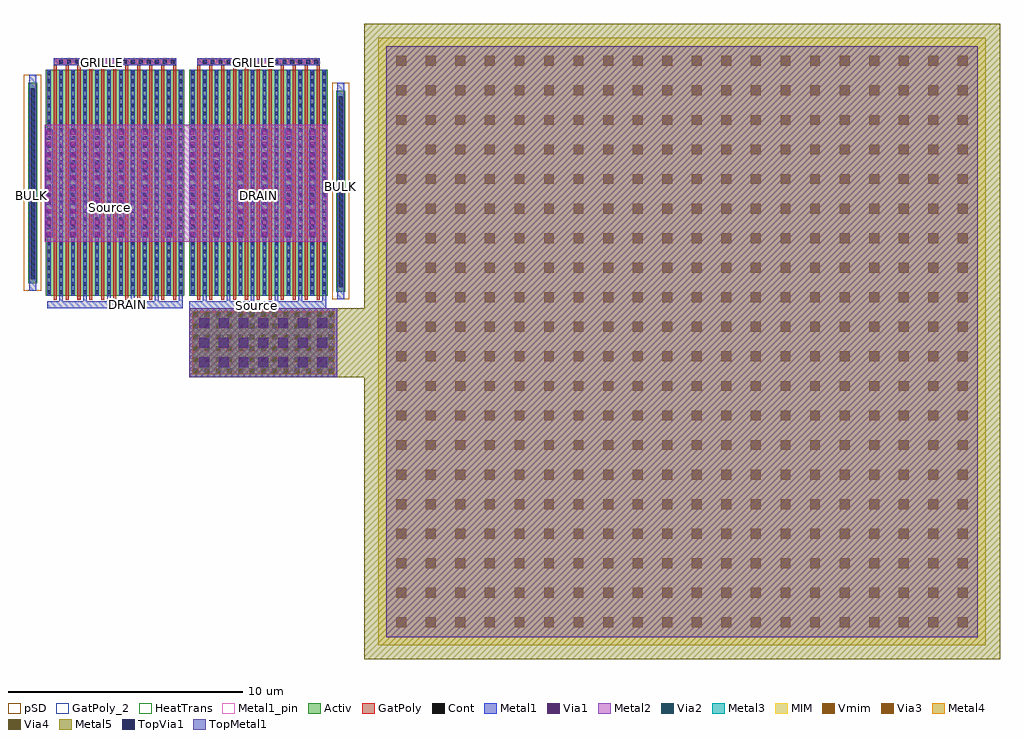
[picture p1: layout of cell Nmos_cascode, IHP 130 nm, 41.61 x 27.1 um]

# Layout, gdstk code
from math import pi, radians
import gdstk
lib = gdstk.Library(unit=1e-6, precision=1e-09)
def R(c, l, rs):  # rectangles x0, y0, x1, y1
    for r in rs: c.add(gdstk.rectangle(r[:2], r[2:], *l))
def A(c, l, x, y, w, h, nx, ny, dx, dy):  # array of equal rectangles
    R(c, l, [(x+i*dx, y+j*dy, x+i*dx+w, y+j*dy+h) for i in range(nx) for j in range(ny)])
Activ = (1, 0)
GatPoly = (5, 0)
GatPoly_2 = (5, 2)
Cont = (6, 0)
Metal1 = (8, 0)
Metal1_pin = (8, 2)
Metal2 = (10, 0)
pSD = (14, 0)
Via1 = (19, 0)
Via2 = (29, 0)
Metal3 = (30, 0)
MIM = (36, 0)
Via3 = (49, 0)
Metal4 = (50, 0)
HeatTrans = (51, 0)
Via4 = (66, 0)
Metal5 = (67, 0)
TopVia1 = (125, 0)
TopMetal1 = (126, 0)
Vmim = (129, 0)

via_stack_11 = lib.new_cell('via_stack$11')
R(via_stack_11, Metal1, [(-0.145,-2.305,0.145,2.305)])
R(via_stack_11, Metal2, [(-0.145,-2.305,0.145,2.305)])
A(via_stack_11, Via1, -0.095, -2.255, 0.19, 0.19, 1, 10, 0, 0.48)

nmos1 = lib.new_cell('nmos1')
A(nmos1, Activ, 0, 0, 0.3, 0.3, 12, 1, 0.51, 0)
R(nmos1, Activ, [(0,0,5.91,9.635)])
A(nmos1, GatPoly, 0.34, -0.18, 0.13, 9.995, 11, 1, 0.51, 0)
R(nmos1, GatPoly_2, [(0.34,-0.18,0.47,9.815)])
A(nmos1, Cont, 0.07, 0.07, 0.16, 0.16, 12, 7, 0.51, 0.345)
A(nmos1, Cont, 0.07, 2.49, 0.16, 0.16, 12, 7, 0.51, 0.345)
A(nmos1, Cont, 0.07, 4.91, 0.16, 0.16, 12, 7, 0.51, 0.345)
A(nmos1, Cont, 0.07, 7.33, 0.16, 0.16, 12, 6, 0.51, 0.345)
A(nmos1, Cont, 0.07, 9.405, 0.16, 0.16, 12, 1, 0.51, 0)
A(nmos1, Metal1, 0.07, 0, 0.16, 9.635, 12, 1, 0.51, 0)
R(nmos1, Metal1_pin, [(0.07,0,0.23,9.635), (0.58,0,0.74,9.635)])
A(nmos1, HeatTrans, 0.34, -0.18, 0.13, 9.995, 11, 1, 0.51, 0)
nmos1.add(gdstk.Label('nmos', (0.405,4.818), layer=63, texttype=0))
nmos1.add(gdstk.Label('nmos', (0.405,4.818), layer=51, texttype=0))
nmos1.add(gdstk.Label('nmos', (0.915,4.818), layer=51, texttype=0))
nmos1.add(gdstk.Label('nmos', (1.425,4.818), layer=51, texttype=0))
nmos1.add(gdstk.Label('nmos', (1.935,4.818), layer=51, texttype=0))
nmos1.add(gdstk.Label('nmos', (2.445,4.818), layer=51, texttype=0))
nmos1.add(gdstk.Label('nmos', (2.955,4.818), layer=51, texttype=0))
nmos1.add(gdstk.Label('nmos', (3.465,4.818), layer=51, texttype=0))
nmos1.add(gdstk.Label('nmos', (3.975,4.818), layer=51, texttype=0))
nmos1.add(gdstk.Label('nmos', (4.485,4.818), layer=51, texttype=0))
nmos1.add(gdstk.Label('nmos', (4.995,4.818), layer=51, texttype=0))
nmos1.add(gdstk.Label('nmos', (5.505,4.818), layer=51, texttype=0))

cmim_9 = lib.new_cell('cmim$9')
R(cmim_9, MIM, [(0,0,25.9,25.9)])
R(cmim_9, Metal5, [(-0.6,-0.6,26.5,26.5)])
R(cmim_9, TopMetal1, [(0.345,0.345,25.545,25.545)])
A(cmim_9, Vmim, 0.765, 0.765, 0.42, 0.42, 20, 20, 1.26, 1.26)

c_c0 = lib.new_cell('C0')
c_c0.add(gdstk.Reference(cmim_9, (-3.415,-10.455)))

via_stack_20 = lib.new_cell('via_stack$20')
R(via_stack_20, Metal1, [(-3.025,-1.345,3.025,1.345)])
R(via_stack_20, Metal2, [(-3.025,-1.345,3.025,1.345)])
A(via_stack_20, Via1, -2.975, -1.295, 0.19, 0.19, 13, 6, 0.48, 0.48)
A(via_stack_20, Via2, -2.975, -1.295, 0.19, 0.19, 13, 6, 0.48, 0.48)
R(via_stack_20, Metal3, [(-3.025,-1.345,3.025,1.345)])
A(via_stack_20, Via3, -2.975, -1.295, 0.19, 0.19, 13, 6, 0.48, 0.48)
R(via_stack_20, Metal4, [(-3.025,-1.345,3.025,1.345)])
A(via_stack_20, Via4, -2.975, -1.295, 0.19, 0.19, 13, 6, 0.48, 0.48)
R(via_stack_20, Metal5, [(-3.025,-1.345,3.025,1.345), (-2.83,-1.15,2.83,1.15)])
A(via_stack_20, TopVia1, -2.73, -1.05, 0.42, 0.42, 7, 3, 0.84, 0.84)
R(via_stack_20, TopMetal1, [(-3.15,-1.47,3.15,1.47)])

nmos_cascode = lib.new_cell('Nmos_cascode')
R(nmos_cascode, Activ, [(5.895,-14.95,6.27,-6.4), (-7.235,-14.605,-6.86,-6.055)])
R(nmos_cascode, GatPoly, [(-6.16,-5.31,-0.93,-5.01), (-0.04,-5.31,5.19,-5.01)])
A(nmos_cascode, Cont, -5.92, -5.24, 0.16, 0.16, 15, 1, 0.34, 0)
A(nmos_cascode, Cont, 0.2, -5.24, 0.16, 0.16, 15, 1, 0.34, 0)
R(nmos_cascode, Cont, [(6,-14.765,6.16,-6.62), (-7.13,-14.42,-6.97,-6.275)])
A(nmos_cascode, Metal1, -5.92, -15.36, 0.16, 0.235, 12, 1, 1.02, 0)
R(nmos_cascode, Metal1, [(-0.37,-18.6,5.93,-15.66), (-6.43,-15.66,-0.66,-15.36), (-0.37,-15.66,5.46,-15.36), (5.93,-15.27,6.23,-6.05), (-7.2,-14.925,-6.9,-5.705), (-6.16,-5.31,-0.93,-5.01), (-0.04,-5.31,5.19,-5.01)])
R(nmos_cascode, Metal2, [(-6.54,-12.83,5.53,-7.83)])
R(nmos_cascode, pSD, [(5.71,-15.27,6.45,-6.045), (-7.42,-14.925,-6.68,-5.7)])
R(nmos_cascode, Metal5, [(-0.37,-18.6,7.085,-15.66)])
r = gdstk.Reference(via_stack_11, (-5.335,-10.33), rotation=pi); r.repetition = gdstk.Repetition(1, 1, v1=(0,0), v2=(0,0)); nmos_cascode.add(r)
nmos_cascode.add(gdstk.Reference(nmos1, (5.53,-5.49), rotation=pi))
r = gdstk.Reference(via_stack_11, (-6.35,-10.33), rotation=pi); r.repetition = gdstk.Repetition(1, 1, v1=(0,0), v2=(0,0)); nmos_cascode.add(r)
r = gdstk.Reference(via_stack_11, (-3.29,-10.33), rotation=pi); r.repetition = gdstk.Repetition(1, 1, v1=(0,0), v2=(0,0)); nmos_cascode.add(r)
r = gdstk.Reference(via_stack_11, (-4.315,-10.33), rotation=pi); r.repetition = gdstk.Repetition(1, 1, v1=(0,0), v2=(0,0)); nmos_cascode.add(r)
r = gdstk.Reference(via_stack_11, (-1.245,-10.33), rotation=pi); r.repetition = gdstk.Repetition(1, 1, v1=(0,0), v2=(0,0)); nmos_cascode.add(r)
r = gdstk.Reference(via_stack_11, (-2.27,-10.33), rotation=pi); r.repetition = gdstk.Repetition(1, 1, v1=(0,0), v2=(0,0)); nmos_cascode.add(r)
r = gdstk.Reference(via_stack_11, (-0.23,-10.33), rotation=pi); r.repetition = gdstk.Repetition(1, 1, v1=(0,0), v2=(0,0)); nmos_cascode.add(r)
r = gdstk.Reference(via_stack_11, (0.785,-10.33), rotation=pi); r.repetition = gdstk.Repetition(1, 1, v1=(0,0), v2=(0,0)); nmos_cascode.add(r)
r = gdstk.Reference(via_stack_11, (2.83,-10.33), rotation=pi); r.repetition = gdstk.Repetition(1, 1, v1=(0,0), v2=(0,0)); nmos_cascode.add(r)
r = gdstk.Reference(via_stack_11, (1.805,-10.33), rotation=pi); r.repetition = gdstk.Repetition(1, 1, v1=(0,0), v2=(0,0)); nmos_cascode.add(r)
r = gdstk.Reference(via_stack_11, (4.875,-10.33), rotation=pi); r.repetition = gdstk.Repetition(1, 1, v1=(0,0), v2=(0,0)); nmos_cascode.add(r)
r = gdstk.Reference(via_stack_11, (3.85,-10.33), rotation=pi); r.repetition = gdstk.Repetition(1, 1, v1=(0,0), v2=(0,0)); nmos_cascode.add(r)
nmos_cascode.add(gdstk.Reference(nmos1, (-0.59,-5.49), rotation=pi))
nmos_cascode.add(gdstk.Reference(c_c0, (11.1,-19.575)))
nmos_cascode.add(gdstk.Reference(via_stack_20, (2.78,-17.13)))
nmos_cascode.add(gdstk.Label('BULK', (-7.085,-10.85), layer=63, texttype=0))
nmos_cascode.add(gdstk.Label('BULK', (6.055,-10.47), layer=63, texttype=0))
nmos_cascode.add(gdstk.Label('GRILLE', (2.4,-5.195), layer=63, texttype=0))
nmos_cascode.add(gdstk.Label('GRILLE', (-4.08,-5.205), layer=63, texttype=0))
nmos_cascode.add(gdstk.Label('Source', (2.47,-15.54), layer=63, texttype=0))
nmos_cascode.add(gdstk.Label('DRAIN', (-2.995,-15.495), layer=63, texttype=0))
nmos_cascode.add(gdstk.Label('Source', (-3.795,-11.36), layer=63, texttype=0))
nmos_cascode.add(gdstk.Label('DRAIN', (2.575,-10.845), layer=63, texttype=0))

lib.write_gds('Nmos_cascode.gds')
